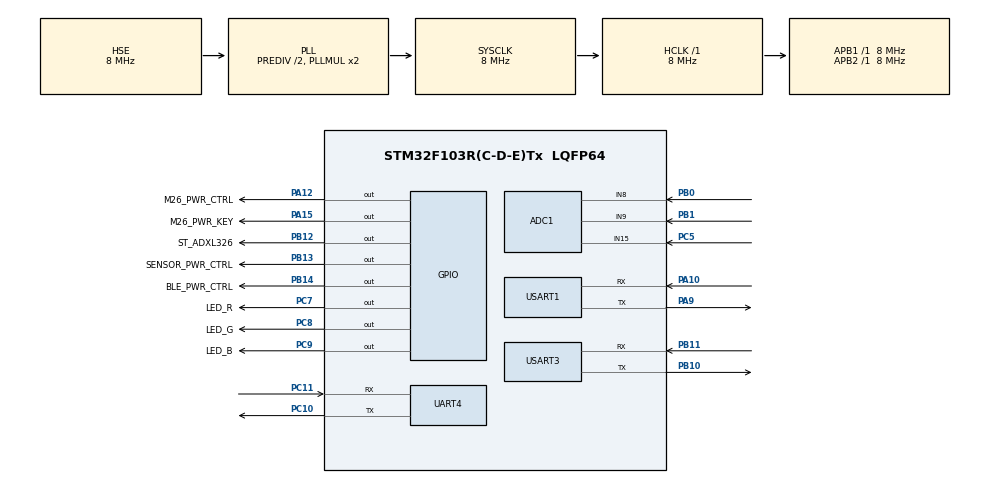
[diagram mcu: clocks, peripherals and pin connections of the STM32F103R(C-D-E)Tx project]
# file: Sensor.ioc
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ADC1.Channel-0\#ChannelRegularConversion=ADC_CHANNEL_8
ADC1.InjNumberOfConversion=0
ADC1.NbrOfConversion=1
ADC1.NbrOfConversionFlag=1
ADC1.Rank-0\#ChannelRegularConversion=1
ADC1.SamplingTime-0\#ChannelRegularConversion=ADC_SAMPLETIME_1CYCLE_5
ADC1.master=1
Dma.Request0=USART1_RX
Dma.Request1=USART3_RX
Dma.Request2=USART1_TX
Dma.Request3=USART3_TX
Dma.Request4=UART4_RX
Dma.Request5=UART4_TX
Dma.UART4_RX.4.Direction=DMA_PERIPH_TO_MEMORY
Dma.UART4_RX.4.Instance=DMA2_Channel3
Dma.UART4_RX.4.MemDataAlignment=DMA_MDATAALIGN_BYTE
Dma.UART4_RX.4.MemInc=DMA_MINC_ENABLE
Dma.UART4_RX.4.Mode=DMA_NORMAL
Dma.UART4_RX.4.PeriphDataAlignment=DMA_PDATAALIGN_BYTE
Dma.UART4_RX.4.PeriphInc=DMA_PINC_DISABLE
Dma.UART4_RX.4.Priority=DMA_PRIORITY_LOW
Dma.UART4_TX.5.Direction=DMA_MEMORY_TO_PERIPH
Dma.UART4_TX.5.Instance=DMA2_Channel5
Dma.UART4_TX.5.MemDataAlignment=DMA_MDATAALIGN_BYTE
Dma.UART4_TX.5.MemInc=DMA_MINC_ENABLE
Dma.UART4_TX.5.Mode=DMA_NORMAL
Dma.UART4_TX.5.PeriphDataAlignment=DMA_PDATAALIGN_BYTE
Dma.UART4_TX.5.PeriphInc=DMA_PINC_DISABLE
Dma.UART4_TX.5.Priority=DMA_PRIORITY_LOW
Dma.USART1_RX.0.Direction=DMA_PERIPH_TO_MEMORY
Dma.USART1_RX.0.Instance=DMA1_Channel5
Dma.USART1_RX.0.MemDataAlignment=DMA_MDATAALIGN_BYTE
Dma.USART1_RX.0.MemInc=DMA_MINC_ENABLE
Dma.USART1_RX.0.Mode=DMA_NORMAL
Dma.USART1_RX.0.PeriphDataAlignment=DMA_PDATAALIGN_BYTE
Dma.USART1_RX.0.PeriphInc=DMA_PINC_DISABLE
Dma.USART1_RX.0.Priority=DMA_PRIORITY_LOW
Dma.USART1_TX.2.Direction=DMA_MEMORY_TO_PERIPH
Dma.USART1_TX.2.Instance=DMA1_Channel4
Dma.USART1_TX.2.MemDataAlignment=DMA_MDATAALIGN_BYTE
Dma.USART1_TX.2.MemInc=DMA_MINC_ENABLE
Dma.USART1_TX.2.Mode=DMA_NORMAL
Dma.USART1_TX.2.PeriphDataAlignment=DMA_PDATAALIGN_BYTE
Dma.USART1_TX.2.PeriphInc=DMA_PINC_DISABLE
Dma.USART1_TX.2.Priority=DMA_PRIORITY_LOW
Dma.USART3_RX.1.Direction=DMA_PERIPH_TO_MEMORY
Dma.USART3_RX.1.Instance=DMA1_Channel3
Dma.USART3_RX.1.MemDataAlignment=DMA_MDATAALIGN_BYTE
Dma.USART3_RX.1.MemInc=DMA_MINC_ENABLE
Dma.USART3_RX.1.Mode=DMA_NORMAL
Dma.USART3_RX.1.PeriphDataAlignment=DMA_PDATAALIGN_BYTE
Dma.USART3_RX.1.PeriphInc=DMA_PINC_DISABLE
Dma.USART3_RX.1.Priority=DMA_PRIORITY_LOW
Dma.USART3_TX.3.Direction=DMA_MEMORY_TO_PERIPH
Dma.USART3_TX.3.Instance=DMA1_Channel2
Dma.USART3_TX.3.MemDataAlignment=DMA_MDATAALIGN_BYTE
Dma.USART3_TX.3.MemInc=DMA_MINC_ENABLE
Dma.USART3_TX.3.Mode=DMA_NORMAL
Dma.USART3_TX.3.PeriphDataAlignment=DMA_PDATAALIGN_BYTE
Dma.USART3_TX.3.PeriphInc=DMA_PINC_DISABLE
Dma.USART3_TX.3.Priority=DMA_PRIORITY_LOW
Mcu.Family=STM32F1
Mcu.Name=STM32F103R(C-D-E)Tx
Mcu.Package=LQFP64
NVIC.ADC1_2_IRQn=true\:0\:0\:false\:false\:true\:true\:true
NVIC.DMA1_Channel2_IRQn=true\:0\:0\:false\:false\:true\:false\:true
NVIC.DMA1_Channel3_IRQn=true\:0\:0\:false\:false\:true\:false\:true
NVIC.DMA1_Channel4_IRQn=true\:0\:0\:false\:false\:true\:false\:true
NVIC.DMA1_Channel5_IRQn=true\:0\:0\:false\:false\:true\:false\:true
NVIC.DMA2_Channel3_IRQn=true\:0\:0\:false\:false\:true\:false\:true
NVIC.DMA2_Channel4_5_IRQn=true\:0\:0\:false\:false\:true\:false\:true
NVIC.PriorityGroup=NVIC_PRIORITYGROUP_4
NVIC.RCC_IRQn=true\:0\:0\:false\:false\:true\:true\:false
NVIC.RTC_IRQn=true\:0\:0\:false\:false\:true\:true\:true
NVIC.TIM4_IRQn=true\:0\:0\:false\:false\:true\:true\:true
NVIC.UART4_IRQn=true\:1\:0\:true\:false\:true\:true\:true
NVIC.USART1_IRQn=true\:3\:0\:true\:false\:true\:true\:true
NVIC.USART3_IRQn=true\:2\:0\:true\:false\:true\:true\:true
PA0-WKUP.Mode=SYS_WakeUp0
PA0-WKUP.Signal=SYS_WKUP
PA10.Mode=Asynchronous
PA10.Signal=USART1_RX
PA12.GPIO_Label=M26_PWR_CTRL
PA12.GPIO_PuPd=GPIO_NOPULL
PA12.GPIO_Speed=GPIO_SPEED_FREQ_HIGH
PA12.Signal=GPIO_Output
PA13.Mode=Serial_Wire
PA13.Signal=SYS_JTMS-SWDIO
PA14.Mode=Serial_Wire
PA14.Signal=SYS_JTCK-SWCLK
PA15.GPIO_Label=M26_PWR_KEY
PA15.GPIO_Speed=GPIO_SPEED_FREQ_HIGH
PA15.Signal=GPIO_Output
PA9.Mode=Asynchronous
PA9.Signal=USART1_TX
PB0.Signal=ADCx_IN8
PB1.Signal=ADCx_IN9
PB10.Mode=Asynchronous
PB10.Signal=USART3_TX
PB11.Mode=Asynchronous
PB11.Signal=USART3_RX
PB12.GPIO_Label=ST_ADXL326
PB12.GPIO_Speed=GPIO_SPEED_FREQ_HIGH
PB12.Signal=GPIO_Output
PB13.GPIO_Label=SENSOR_PWR_CTRL
PB13.GPIO_Speed=GPIO_SPEED_FREQ_HIGH
PB13.Signal=GPIO_Output
PB14.GPIO_Label=BLE_PWR_CTRL
PB14.GPIO_Speed=GPIO_SPEED_FREQ_HIGH
PB14.Signal=GPIO_Output
PC10.Mode=Asynchronous
PC10.Signal=UART4_TX
PC11.Mode=Asynchronous
PC11.Signal=UART4_RX
PC5.Signal=ADCx_IN15
PC7.GPIO_Label=LED_R
PC7.GPIO_Speed=GPIO_SPEED_FREQ_HIGH
PC7.Signal=GPIO_Output
PC8.GPIO_Label=LED_G
PC8.GPIO_Speed=GPIO_SPEED_FREQ_HIGH
PC8.Signal=GPIO_Output
PC9.GPIO_Label=LED_B
PC9.Signal=GPIO_Output
PD0-OSC_IN.Mode=HSE-External-Oscillator
PD0-OSC_IN.Signal=RCC_OSC_IN
PD1-OSC_OUT.Mode=HSE-External-Oscillator
PD1-OSC_OUT.Signal=RCC_OSC_OUT
ProjectManager.HeapSize=0x200
ProjectManager.StackSize=0x400
ProjectManager.TargetToolchain=MDK-ARM V5
RCC.AHBFreq_Value=8000000
RCC.APB1Freq_Value=8000000
RCC.APB1TimFreq_Value=8000000
RCC.APB2Freq_Value=8000000
RCC.APB2TimFreq_Value=8000000
RCC.HCLKFreq_Value=8000000
RCC.HSEDivPLL=RCC_HSE_PREDIV_DIV2
RCC.PLLSourceVirtual=RCC_PLLSOURCE_HSE
RCC.SYSCLKFreq_VALUE=8000000
RCC.SYSCLKSource=RCC_SYSCLKSOURCE_PLLCLK
RCC.USBFreq_Value=8000000
RTC.Format=RTC_FORMAT_BIN
SH.ADCx_IN15.0=ADC1_IN15,IN15
SH.ADCx_IN8.0=ADC1_IN8,IN8
SH.ADCx_IN9.0=ADC1_IN9,IN9
TIM4.Period=250
TIM4.Prescaler=7
UART4.VirtualMode=Asynchronous
USART1.VirtualMode=VM_ASYNC
USART3.VirtualMode=VM_ASYNC
VP_CRC_VS_CRC.Mode=CRC_Activate
VP_RTC_VS_RTC_Activate.Mode=RTC_Enabled
VP_TIM4_VS_ClockSourceINT.Mode=Internal
board=custom

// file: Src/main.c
/* USER CODE BEGIN Header */
/**
  ******************************************************************************
  * @file           : main.c
  * @brief          : Main program body
  ******************************************************************************
  * @attention
  *
  * <h2><center>&copy; Copyright (c) 2020 STMicroelectronics.
  * All rights reserved.</center></h2>
  *
  * This software component is licensed by ST under BSD 3-Clause license,
  * the "License"; You may not use this file except in compliance with the
  * License. You may obtain a copy of the License at:
  *                        opensource.org/licenses/BSD-3-Clause
  *
  ******************************************************************************
  */
/* USER CODE END Header */

#include "main.h"

/* USER CODE BEGIN Includes */
#include "gprs_app.h"
#include "gprs_hal.h"
#include "gprs_comm.h"
#include "debug_uart.h"
#include "rtc.h"

/* USER CODE END Includes */

/* USER CODE BEGIN PTD */
extern void work(void);
extern void dead_in_key_down(void);
extern void read_param(void);
/* USER CODE END PTD */

ADC_HandleTypeDef hadc1;

CRC_HandleTypeDef hcrc;

RTC_HandleTypeDef hrtc;

TIM_HandleTypeDef htim4;

UART_HandleTypeDef huart4;
UART_HandleTypeDef huart1;
UART_HandleTypeDef huart3;
DMA_HandleTypeDef hdma_uart4_rx;
DMA_HandleTypeDef hdma_uart4_tx;
DMA_HandleTypeDef hdma_usart1_rx;
DMA_HandleTypeDef hdma_usart1_tx;
DMA_HandleTypeDef hdma_usart3_rx;
DMA_HandleTypeDef hdma_usart3_tx;

void SystemClock_Config(void);
static void MX_GPIO_Init(void);
static void MX_DMA_Init(void);
static void MX_ADC1_Init(void);
static void MX_RTC_Init(void);
static void MX_UART4_Init(void);
static void MX_USART1_UART_Init(void);
static void MX_USART3_UART_Init(void);
static void MX_TIM4_Init(void);
static void MX_CRC_Init(void);

int main(void)
{

  /* MCU Configuration--------------------------------------------------------*/

  /* Reset of all peripherals, Initializes the Flash interface and the Systick. */
  HAL_Init();

  /* Configure the system clock */
  SystemClock_Config();

  /* Initialize all configured peripherals */
  MX_GPIO_Init();
  MX_DMA_Init();
  MX_ADC1_Init();
  MX_RTC_Init();
  MX_UART4_Init();
  MX_USART1_UART_Init();
  MX_USART3_UART_Init();
  MX_TIM4_Init();
  MX_CRC_Init();
  /* USER CODE BEGIN 2 */
	//cc();
	read_param();

	start_from_gprs_dma_receive();

	start_from_debug_dma_receive();

	rtc_init();

	dead_in_key_down();  //按键唤醒系统的时候 死在按键按下里

	sys_print();

  //start_gprs_mod();
  /* USER CODE END 2 */

  /* Infinite loop */
  while (1)
  {

    /* USER CODE BEGIN 3 */

		task_gprs_comm();

		task_gprs_app();

		task_debug();

    work();

  }
  /* USER CODE END 3 */
}

void SystemClock_Config(void)
{
  RCC_OscInitTypeDef RCC_OscInitStruct = {0};
  RCC_ClkInitTypeDef RCC_ClkInitStruct = {0};
  RCC_PeriphCLKInitTypeDef PeriphClkInit = {0};

  /** Initializes the CPU, AHB and APB busses clocks
  */
  RCC_OscInitStruct.OscillatorType = RCC_OSCILLATORTYPE_LSI|RCC_OSCILLATORTYPE_HSE;
  RCC_OscInitStruct.HSEState = RCC_HSE_ON;
  RCC_OscInitStruct.HSEPredivValue = RCC_HSE_PREDIV_DIV2;
  RCC_OscInitStruct.HSIState = RCC_HSI_ON;
  RCC_OscInitStruct.LSIState = RCC_LSI_ON;
  RCC_OscInitStruct.PLL.PLLState = RCC_PLL_ON;
  RCC_OscInitStruct.PLL.PLLSource = RCC_PLLSOURCE_HSE;
  RCC_OscInitStruct.PLL.PLLMUL = RCC_PLL_MUL2;
  if (HAL_RCC_OscConfig(&RCC_OscInitStruct) != HAL_OK)
  {
    Error_Handler();
  }
  /** Initializes the CPU, AHB and APB busses clocks
  */
  RCC_ClkInitStruct.ClockType = RCC_CLOCKTYPE_HCLK|RCC_CLOCKTYPE_SYSCLK
                              |RCC_CLOCKTYPE_PCLK1|RCC_CLOCKTYPE_PCLK2;
  RCC_ClkInitStruct.SYSCLKSource = RCC_SYSCLKSOURCE_PLLCLK;
  RCC_ClkInitStruct.AHBCLKDivider = RCC_SYSCLK_DIV1;
  RCC_ClkInitStruct.APB1CLKDivider = RCC_HCLK_DIV1;
  RCC_ClkInitStruct.APB2CLKDivider = RCC_HCLK_DIV1;

  if (HAL_RCC_ClockConfig(&RCC_ClkInitStruct, FLASH_LATENCY_0) != HAL_OK)
  {
    Error_Handler();
  }
  PeriphClkInit.PeriphClockSelection = RCC_PERIPHCLK_RTC|RCC_PERIPHCLK_ADC;
  PeriphClkInit.RTCClockSelection = RCC_RTCCLKSOURCE_LSI;
  PeriphClkInit.AdcClockSelection = RCC_ADCPCLK2_DIV2;
  if (HAL_RCCEx_PeriphCLKConfig(&PeriphClkInit) != HAL_OK)
  {
    Error_Handler();
  }
}

static void MX_ADC1_Init(void)
{

  ADC_ChannelConfTypeDef sConfig = {0};

  /** Common config
  */
  hadc1.Instance = ADC1;
  hadc1.Init.ScanConvMode = ADC_SCAN_DISABLE;
  hadc1.Init.ContinuousConvMode = DISABLE;
  hadc1.Init.DiscontinuousConvMode = DISABLE;
  hadc1.Init.ExternalTrigConv = ADC_SOFTWARE_START;
  hadc1.Init.DataAlign = ADC_DATAALIGN_RIGHT;
  hadc1.Init.NbrOfConversion = 1;
  if (HAL_ADC_Init(&hadc1) != HAL_OK)
  {
    Error_Handler();
  }
  /** Configure Regular Channel
  */
  sConfig.Channel = ADC_CHANNEL_8;
  sConfig.Rank = ADC_REGULAR_RANK_1;
  sConfig.SamplingTime = ADC_SAMPLETIME_1CYCLE_5;
  if (HAL_ADC_ConfigChannel(&hadc1, &sConfig) != HAL_OK)
  {
    Error_Handler();
  }

}

static void MX_CRC_Init(void)
{

  hcrc.Instance = CRC;
  if (HAL_CRC_Init(&hcrc) != HAL_OK)
  {
    Error_Handler();
  }

}

static void MX_RTC_Init(void)
{

  /** Initialize RTC Only
  */
  hrtc.Instance = RTC;
  hrtc.Init.AsynchPrediv = RTC_AUTO_1_SECOND;
  hrtc.Init.OutPut = RTC_OUTPUTSOURCE_ALARM;
  if (HAL_RTC_Init(&hrtc) != HAL_OK)
  {
    Error_Handler();
  }

}

static void MX_TIM4_Init(void)
{

  TIM_ClockConfigTypeDef sClockSourceConfig = {0};
  TIM_MasterConfigTypeDef sMasterConfig = {0};

  htim4.Instance = TIM4;
  htim4.Init.Prescaler = 7;
  htim4.Init.CounterMode = TIM_COUNTERMODE_UP;
  htim4.Init.Period = 250;
  htim4.Init.ClockDivision = TIM_CLOCKDIVISION_DIV1;
  htim4.Init.AutoReloadPreload = TIM_AUTORELOAD_PRELOAD_DISABLE;
  if (HAL_TIM_Base_Init(&htim4) != HAL_OK)
  {
    Error_Handler();
  }
  sClockSourceConfig.ClockSource = TIM_CLOCKSOURCE_INTERNAL;
  if (HAL_TIM_ConfigClockSource(&htim4, &sClockSourceConfig) != HAL_OK)
  {
    Error_Handler();
  }
  sMasterConfig.MasterOutputTrigger = TIM_TRGO_RESET;
  sMasterConfig.MasterSlaveMode = TIM_MASTERSLAVEMODE_DISABLE;
  if (HAL_TIMEx_MasterConfigSynchronization(&htim4, &sMasterConfig) != HAL_OK)
  {
    Error_Handler();
  }

}

static void MX_UART4_Init(void)
{

  huart4.Instance = UART4;
  huart4.Init.BaudRate = 115200;
  huart4.Init.WordLength = UART_WORDLENGTH_8B;
  huart4.Init.StopBits = UART_STOPBITS_1;
  huart4.Init.Parity = UART_PARITY_NONE;
  huart4.Init.Mode = UART_MODE_TX_RX;
  huart4.Init.HwFlowCtl = UART_HWCONTROL_NONE;
  huart4.Init.OverSampling = UART_OVERSAMPLING_16;
  if (HAL_UART_Init(&huart4) != HAL_OK)
  {
    Error_Handler();
  }

}

static void MX_USART1_UART_Init(void)
{

  huart1.Instance = USART1;
  huart1.Init.BaudRate = 115200;
  huart1.Init.WordLength = UART_WORDLENGTH_8B;
  huart1.Init.StopBits = UART_STOPBITS_1;
  huart1.Init.Parity = UART_PARITY_NONE;
  huart1.Init.Mode = UART_MODE_TX_RX;
  huart1.Init.HwFlowCtl = UART_HWCONTROL_NONE;
  huart1.Init.OverSampling = UART_OVERSAMPLING_16;
  if (HAL_UART_Init(&huart1) != HAL_OK)
  {
    Error_Handler();
  }

}

static void MX_USART3_UART_Init(void)
{

  huart3.Instance = USART3;
  huart3.Init.BaudRate = 115200;
  huart3.Init.WordLength = UART_WORDLENGTH_8B;
  huart3.Init.StopBits = UART_STOPBITS_1;
  huart3.Init.Parity = UART_PARITY_NONE;
  huart3.Init.Mode = UART_MODE_TX_RX;
  huart3.Init.HwFlowCtl = UART_HWCONTROL_NONE;
  huart3.Init.OverSampling = UART_OVERSAMPLING_16;
  if (HAL_UART_Init(&huart3) != HAL_OK)
  {
    Error_Handler();
  }

}

static void MX_DMA_Init(void)
{

  /* DMA controller clock enable */
  __HAL_RCC_DMA1_CLK_ENABLE();
  __HAL_RCC_DMA2_CLK_ENABLE();

  /* DMA interrupt init */
  /* DMA1_Channel2_IRQn interrupt configuration */
  HAL_NVIC_SetPriority(DMA1_Channel2_IRQn, 0, 0);
  HAL_NVIC_EnableIRQ(DMA1_Channel2_IRQn);
  /* DMA1_Channel3_IRQn interrupt configuration */
  HAL_NVIC_SetPriority(DMA1_Channel3_IRQn, 0, 0);
  HAL_NVIC_EnableIRQ(DMA1_Channel3_IRQn);
  /* DMA1_Channel4_IRQn interrupt configuration */
  HAL_NVIC_SetPriority(DMA1_Channel4_IRQn, 0, 0);
  HAL_NVIC_EnableIRQ(DMA1_Channel4_IRQn);
  /* DMA1_Channel5_IRQn interrupt configuration */
  HAL_NVIC_SetPriority(DMA1_Channel5_IRQn, 0, 0);
  HAL_NVIC_EnableIRQ(DMA1_Channel5_IRQn);
  /* DMA2_Channel3_IRQn interrupt configuration */
  HAL_NVIC_SetPriority(DMA2_Channel3_IRQn, 0, 0);
  HAL_NVIC_EnableIRQ(DMA2_Channel3_IRQn);
  /* DMA2_Channel4_5_IRQn interrupt configuration */
  HAL_NVIC_SetPriority(DMA2_Channel4_5_IRQn, 0, 0);
  HAL_NVIC_EnableIRQ(DMA2_Channel4_5_IRQn);

}

static void MX_GPIO_Init(void)
{
  GPIO_InitTypeDef GPIO_InitStruct = {0};

  /* GPIO Ports Clock Enable */
  __HAL_RCC_GPIOD_CLK_ENABLE();
  __HAL_RCC_GPIOA_CLK_ENABLE();
  __HAL_RCC_GPIOC_CLK_ENABLE();
  __HAL_RCC_GPIOB_CLK_ENABLE();

  /*Configure GPIO pin Output Level */
  HAL_GPIO_WritePin(GPIOB, ST_ADXL326_Pin|SENSOR_PWR_CTRL_Pin|BLE_PWR_CTRL_Pin, GPIO_PIN_RESET);

  /*Configure GPIO pin Output Level */
  HAL_GPIO_WritePin(GPIOC, LED_R_Pin|LED_G_Pin|LED_B_Pin, GPIO_PIN_RESET);

  /*Configure GPIO pin Output Level */
  HAL_GPIO_WritePin(GPIOA, M26_PWR_CTRL_Pin|M26_PWR_KEY_Pin, GPIO_PIN_RESET);

  /*Configure GPIO pins : ST_ADXL326_Pin SENSOR_PWR_CTRL_Pin BLE_PWR_CTRL_Pin */
  GPIO_InitStruct.Pin = ST_ADXL326_Pin|SENSOR_PWR_CTRL_Pin|BLE_PWR_CTRL_Pin;
  GPIO_InitStruct.Mode = GPIO_MODE_OUTPUT_PP;
  GPIO_InitStruct.Pull = GPIO_NOPULL;
  GPIO_InitStruct.Speed = GPIO_SPEED_FREQ_HIGH;
  HAL_GPIO_Init(GPIOB, &GPIO_InitStruct);

  /*Configure GPIO pins : LED_R_Pin LED_G_Pin */
  GPIO_InitStruct.Pin = LED_R_Pin|LED_G_Pin;
  GPIO_InitStruct.Mode = GPIO_MODE_OUTPUT_PP;
  GPIO_InitStruct.Pull = GPIO_NOPULL;
  GPIO_InitStruct.Speed = GPIO_SPEED_FREQ_HIGH;
  HAL_GPIO_Init(GPIOC, &GPIO_InitStruct);

  /*Configure GPIO pin : LED_B_Pin */
  GPIO_InitStruct.Pin = LED_B_Pin;
  GPIO_InitStruct.Mode = GPIO_MODE_OUTPUT_PP;
  GPIO_InitStruct.Pull = GPIO_NOPULL;
  GPIO_InitStruct.Speed = GPIO_SPEED_FREQ_LOW;
  HAL_GPIO_Init(LED_B_GPIO_Port, &GPIO_InitStruct);

  /*Configure GPIO pins : M26_PWR_CTRL_Pin M26_PWR_KEY_Pin */
  GPIO_InitStruct.Pin = M26_PWR_CTRL_Pin|M26_PWR_KEY_Pin;
  GPIO_InitStruct.Mode = GPIO_MODE_OUTPUT_PP;
  GPIO_InitStruct.Pull = GPIO_NOPULL;
  GPIO_InitStruct.Speed = GPIO_SPEED_FREQ_HIGH;
  HAL_GPIO_Init(GPIOA, &GPIO_InitStruct);

}

void Error_Handler(void)
{
}

/************************ (C) COPYRIGHT STMicroelectronics *****END OF FILE****/
